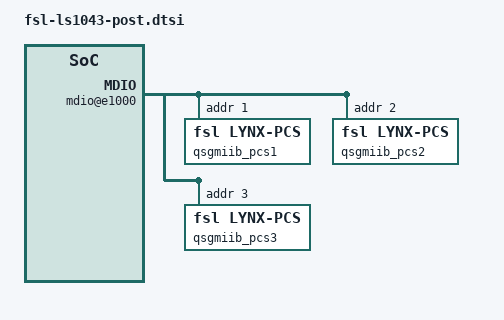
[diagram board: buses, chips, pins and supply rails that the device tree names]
// SPDX-License-Identifier: (GPL-2.0+ OR BSD-3-Clause)
/*
 * QorIQ FMan v3 device tree nodes for ls1043
 *
 * Copyright 2015-2016 Freescale Semiconductor Inc.
 */

&soc {

/* include used FMan blocks */
#include "qoriq-fman3-0.dtsi"
#include "qoriq-fman3-0-1g-0.dtsi"
#include "qoriq-fman3-0-1g-1.dtsi"
#include "qoriq-fman3-0-1g-2.dtsi"
#include "qoriq-fman3-0-1g-3.dtsi"
#include "qoriq-fman3-0-1g-4.dtsi"
#include "qoriq-fman3-0-1g-5.dtsi"
#include "qoriq-fman3-0-10g-0.dtsi"

};

&fman0 {
	fsl,erratum-a050385;

	/* these aliases provide the FMan ports mapping */
	enet0: ethernet@e0000 {
		pcs-handle-names = "qsgmii";
	};

	enet1: ethernet@e2000 {
		pcsphy-handle = <&pcsphy1>, <&qsgmiib_pcs1>;
		pcs-handle-names = "sgmii", "qsgmii";
	};

	enet2: ethernet@e4000 {
	};

	enet3: ethernet@e6000 {
	};

	enet4: ethernet@e8000 {
		pcsphy-handle = <&pcsphy4>, <&qsgmiib_pcs2>;
		pcs-handle-names = "sgmii", "qsgmii";
	};

	enet5: ethernet@ea000 {
		pcsphy-handle = <&pcsphy5>, <&qsgmiib_pcs3>;
		pcs-handle-names = "sgmii", "qsgmii";
	};

	enet6: ethernet@f0000 {
	};

	mdio@e1000 {
		qsgmiib_pcs1: ethernet-pcs@1 {
			compatible = "fsl,lynx-pcs";
			reg = <0x1>;
		};

		qsgmiib_pcs2: ethernet-pcs@2 {
			compatible = "fsl,lynx-pcs";
			reg = <0x2>;
		};

		qsgmiib_pcs3: ethernet-pcs@3 {
			compatible = "fsl,lynx-pcs";
			reg = <0x3>;
		};
	};
};
